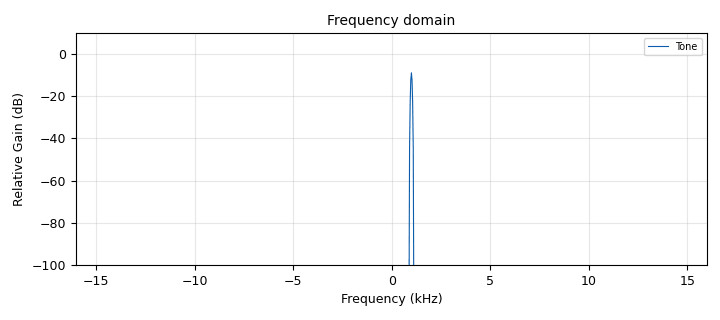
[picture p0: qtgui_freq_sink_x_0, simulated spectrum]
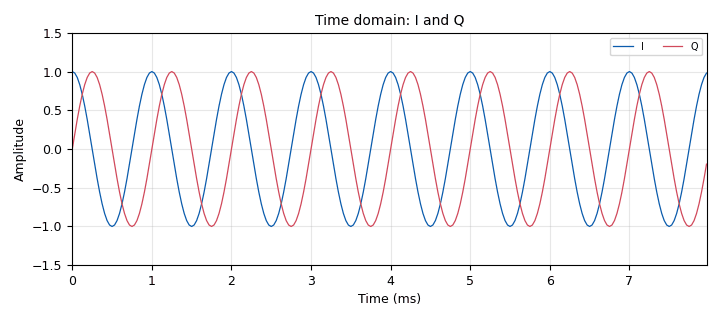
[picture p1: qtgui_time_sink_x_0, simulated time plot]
options:
  parameters:
    author: ECE 448
    description: 'L5: a complex tone in time and frequency. Drag the frequency past half the sample rate to see aliasing.'
    generate_options: qt_gui
    id: L05_tone
    output_language: python
    title: L5 - A Tone in Time and Frequency
  states: {}

blocks:
- name: freq
  id: variable_qtgui_range
  parameters:
    gui_hint: 0,0,1,2
    label: Tone frequency (Hz)
    start: '-48000'
    step: '250'
    stop: '48000'
    value: '1000'
  states: {}
- name: samp_rate
  id: variable
  parameters:
    value: '32000'
  states: {}
- name: analog_sig_source_x_0
  id: analog_sig_source_x
  parameters:
    amp: '1'
    freq: freq
    offset: '0'
    phase: '0'
    samp_rate: samp_rate
    type: complex
    waveform: analog.GR_COS_WAVE
  states: {}
- name: blocks_throttle2_0
  id: blocks_throttle2
  parameters:
    samples_per_second: samp_rate
    type: complex
  states: {}
- name: qtgui_freq_sink_x_0
  id: qtgui_freq_sink_x
  parameters:
    bw: samp_rate
    fc: '0'
    fftsize: '1024'
    gui_hint: 1,1,1,1
    label1: Tone
    name: '"Frequency domain"'
    type: complex
    ymin: '-100'
  states: {}
- name: qtgui_time_sink_x_0
  id: qtgui_time_sink_x
  parameters:
    gui_hint: 1,0,1,1
    label1: I
    label2: Q
    name: '"Time domain: I and Q"'
    size: '256'
    srate: samp_rate
    type: complex
    ymax: '1.5'
    ymin: '-1.5'
  states: {}

connections:
- [analog_sig_source_x_0, '0', blocks_throttle2_0, '0']
- [blocks_throttle2_0, '0', qtgui_freq_sink_x_0, '0']
- [blocks_throttle2_0, '0', qtgui_time_sink_x_0, '0']

metadata:
  file_format: 1
  grc_version: 3.10.9.2
